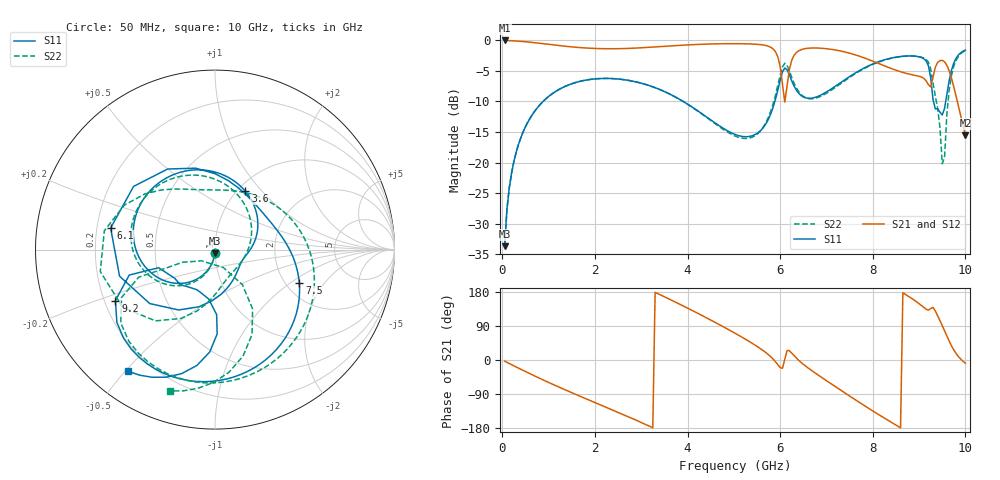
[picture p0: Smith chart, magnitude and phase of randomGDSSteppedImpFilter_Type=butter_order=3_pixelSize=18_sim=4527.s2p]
! freq	dB(S11)	phase(S11)	dB(S12)	phase(S12)
!  dB(S21)	phase(S21)	dB(S22)	phase(S22)
!S-par simulation data
#  GHz  S  DB  R 50
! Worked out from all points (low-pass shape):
!   200 points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, 50 MHz to 10 GHz, reference 50 ohm
!   highest |S21| = -0.01 dB at 50 MHz (marker M1); lowest = -15.6 dB at 10 GHz (marker M2)
!   |S21| within 3 dB of the highest: start of sweep to 5.96 GHz; 6.265 GHz to 7.866 GHz (1.601 GHz wide, 22.7 % of centre)
!   lowest |S11| = -33.7 dB at 50 MHz (marker M3), VSWR 1.04, Z = 49.8 - j2.05 ohm
!   |S11| at or under -10 dB: start of sweep to 881 MHz; 3.908 GHz to 5.885 GHz (1.977 GHz wide, 40.4 % of centre); 9.312 GHz to 9.575 GHz (263 MHz wide, 2.78 % of centre)
!   |S22| runs from -33.7 to -1.7 dB; largest |S21 - S12| = 0
!   S11 on the Smith chart (normalised r, x): 50 MHz: 1.00, -0.04; 3.6 GHz: 1.09, +0.82; 6.1 GHz: 0.26, +0.10; 7.5 GHz: 2.35, -1.19; 9.2 GHz: 0.24, -0.23; 10 GHz: 0.11, -0.51
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0.05  -33.71 -93.1  -0.01 -3.1  -0.01 -3.1  -33.71 -92.9
0.2  -21.74 -103.1  -0.05 -12.3  -0.05 -12.3  -21.74 -102.1
0.5  -14.16 -122.1  -0.22 -30.4  -0.22 -30.4  -14.15 -119.8
1.75  -6.58 165.9  -1.21 -99.3  -1.21 -99.3  -6.58 174.5
2.7  -6.52 114.2  -1.31 -148.6  -1.31 -148.6  -6.51 128.0
3.4  -8.04 74.2  -1.01 172.7  -1.01 172.7  -8.04 91.5
3.6  -8.73 62.4  -0.91 161.1  -0.91 161.1  -8.73 80.3
4.4  -12.48 16.3  -0.60 111.9  -0.60 111.9  -12.56 30.2
5.05  -15.47 -15.9  -0.53 69.0  -0.53 69.0  -15.74 -22.0
5.75  -12.86 -73.5  -0.96 13.7  -0.96 13.7  -12.52 -87.1
6  -6.52 -140.4  -4.26 -20.2  -4.26 -20.2  -5.72 -129.9
6.1  -4.53 168.3  -10.09 1.9  -10.09 1.9  -3.73 -169.2
6.25  -6.63 103.4  -3.25 18.1  -3.25 18.1  -6.05 141.4
6.7  -9.44 34.2  -1.24 -29.5  -1.24 -29.5  -9.56 86.3
7.5  -5.92 -21.8  -2.09 -95.1  -2.09 -95.1  -6.06 8.6
8.35  -2.98 -78.2  -4.46 -160.6  -4.46 -160.6  -3.02 -63.8
8.9  -2.57 -116.5  -5.70 157.6  -5.70 157.6  -2.58 -106.6
9.2  -4.11 -152.9  -7.24 131.6  -7.24 131.6  -3.53 -142.1
9.35  -11.21 -144.2  -4.40 129.7  -4.40 129.7  -9.12 -159.7
9.5  -12.21 -114.0  -3.26 91.1  -3.26 91.1  -20.21 -140.1
9.7  -4.86 -92.9  -6.20 37.4  -6.20 37.4  -5.75 -66.4
10  -1.58 -125.5  -15.56 -8.6  -15.56 -8.6  -1.65 -107.7
